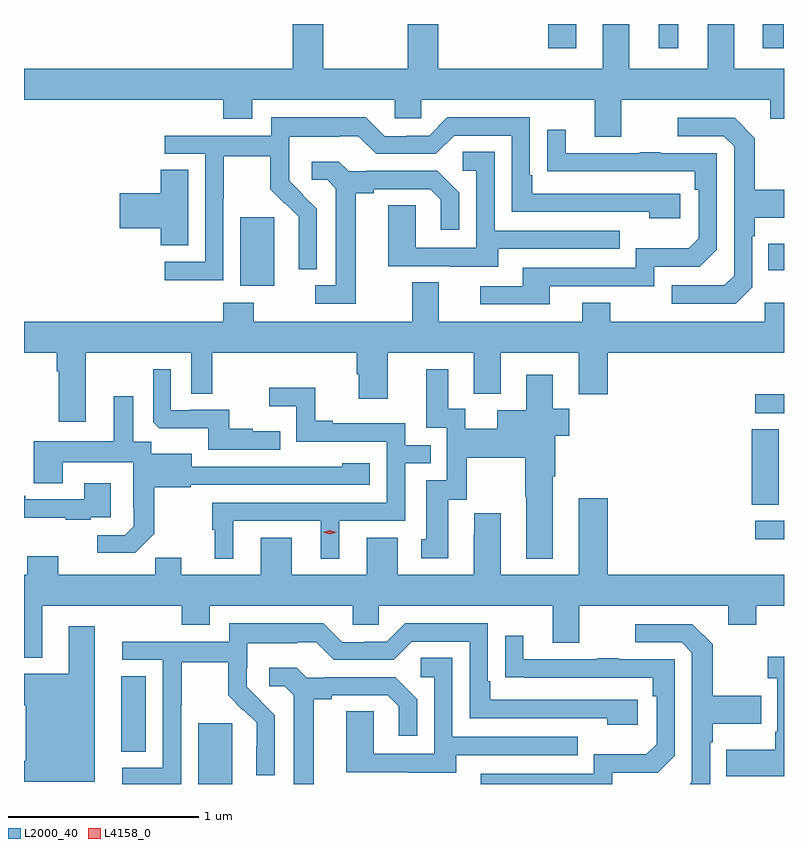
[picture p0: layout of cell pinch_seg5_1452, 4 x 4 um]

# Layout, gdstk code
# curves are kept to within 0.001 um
import gdstk
lib = gdstk.Library(unit=1e-6, precision=1e-09)
def R(c, l, rs):  # rectangles x0, y0, x1, y1
    for r in rs: c.add(gdstk.rectangle(r[:2], r[2:], *l))
def P(c, l, *ps):  # polygons
    for p in ps: c.add(gdstk.Polygon(p, *l))
L2000_40 = (2000, 40)
L4158_0 = (4158, 0)

pinch_seg5_1452 = lib.new_cell('pinch_seg5_1452')
R(pinch_seg5_1452, L2000_40, [(196.403,838.507,196.582,838.827), (195.998,838.678,196.129,839.075), (199.335,839.796,199.487,839.892), (199.316,839.977,199.459,840.374), (199.335,840.459,199.487,840.558), (196.625,841.13,196.804,841.491), (199.405,841.211,199.487,841.351), (198.245,842.379,198.394,842.507), (198.827,842.379,198.931,842.507), (199.376,842.379,199.486,842.507)])
P(pinch_seg5_1452, L2000_40, [(198.631,842.108),(199.415,842.108),(199.415,842.009),(199.487,842.009),(199.487,842.272),(199.225,842.272),(199.225,842.507),(199.085,842.507),(199.085,842.272),(198.673,842.272),(198.673,842.507),(198.533,842.507),(198.533,842.272),(197.666,842.272),(197.666,842.507),(197.506,842.507),(197.506,842.272),(197.061,842.272),(197.061,842.507),(196.901,842.507),(196.901,842.272),(195.487,842.272),(195.487,842.108),(196.535,842.108),(196.535,842.009),(196.687,842.009),(196.687,842.108),(197.439,842.108),(197.439,842.01),(197.577,842.01),(197.577,842.108),(198.491,842.108),(198.491,841.914),(198.631,841.914)],
  [(196.536,841.588),(196.539,841.588),(196.539,841.812),(196.783,841.812),(196.783,841.637),(196.86,841.56),(196.863,841.563),(196.934,841.493),(196.934,841.37),(196.932,841.37),(196.932,841.216),(197.028,841.216),(197.028,841.534),(196.882,841.682),(196.882,841.779),(196.884,841.779),(196.884,841.913),(197.147,841.913),(197.147,841.917),(197.247,841.917),(197.34,841.824),(197.655,841.824),(197.751,841.92),(198.054,841.92),(198.054,841.518),(198.779,841.518),(198.779,841.484),(198.94,841.484),(198.94,841.614),(198.163,841.614),(198.163,841.711),(198.15,841.711),(198.15,842.016),(197.715,842.016),(197.619,841.92),(197.501,841.92),(197.501,841.917),(197.385,841.917),(197.285,842.017),(196.788,842.017),(196.788,841.92),(196.227,841.92),(196.227,841.824),(196.44,841.824),(196.44,841.257),(196.227,841.257),(196.227,841.159),(196.536,841.159)],
  [(199.32,841.122),(199.32,841.391),(199.333,841.391),(199.333,841.487),(199.487,841.487),(199.487,841.635),(199.333,841.635),(199.333,841.907),(199.227,842.013),(198.927,842.013),(198.927,841.917),(199.17,841.917),(199.224,841.863),(199.224,841.182),(199.173,841.131),(198.897,841.131),(198.897,841.035),(199.233,841.035)],
  [(198.253,841.128),(198.804,841.128),(198.804,841.23),(199.044,841.23),(199.134,841.32),(199.134,841.827),(198.839,841.827),(198.839,841.832),(198.727,841.832),(198.727,841.827),(198.337,841.827),(198.337,841.951),(198.241,841.951),(198.241,841.732),(199.018,841.731),(199.018,841.634),(199.038,841.634),(199.038,841.38),(198.985,841.327),(198.708,841.327),(198.708,841.224),(198.113,841.224),(198.113,841.128),(197.889,841.128),(197.889,841.032),(198.253,841.032)],
  [(197.983,841.323),(198.623,841.323),(198.623,841.419),(197.964,841.419),(197.964,841.835),(197.796,841.835),(197.796,841.734),(197.868,841.734),(197.868,841.329),(197.55,841.329),(197.55,841.553),(197.405,841.553),(197.405,841.233),(197.729,841.233),(197.729,841.229),(197.983,841.229)],
  [(197.233,841.616),(197.329,841.616),(197.329,841.638),(197.624,841.638),(197.681,841.581),(197.681,841.425),(197.778,841.425),(197.778,841.618),(197.662,841.734),(197.29,841.734),(197.29,841.731),(197.196,841.731),(197.144,841.783),(197.001,841.783),(197.001,841.686),(197.082,841.686),(197.129,841.639),(197.129,841.131),(197.019,841.131),(197.019,841.035),(197.233,841.035)],
  [(196.351,841.739),(196.208,841.739),(196.208,841.616),(195.99,841.616),(195.99,841.433),(196.208,841.433),(196.208,841.342),(196.351,841.342)],
  [(195.811,840.776),(196.368,840.776),(196.368,840.562),(196.477,840.562),(196.477,840.776),(197.237,840.776),(197.237,840.663),(197.249,840.663),(197.249,840.534),(197.401,840.534),(197.401,840.776),(197.855,840.776),(197.855,840.56),(197.995,840.56),(197.995,840.776),(198.407,840.776),(198.407,840.558),(198.56,840.558),(198.56,840.776),(199.487,840.776),(199.487,841.039),(199.386,841.039),(199.386,840.94),(198.573,840.94),(198.573,841.039),(198.425,841.039),(198.425,840.94),(197.671,840.94),(197.671,841.148),(197.531,841.148),(197.531,840.94),(196.695,840.94),(196.695,841.039),(196.535,841.039),(196.535,840.94),(195.487,840.94),(195.487,840.776),(195.659,840.776),(195.659,840.68),(195.671,840.68),(195.671,840.414),(195.811,840.414)],
  [(198.271,840.128),(198.284,840.128),(198.284,840.341),(198.358,840.341),(198.358,840.483),(198.271,840.483),(198.271,840.661),(198.131,840.661),(198.131,840.475),(197.978,840.475),(197.978,840.376),(197.809,840.376),(197.809,840.482),(197.719,840.482),(197.719,840.691),(197.603,840.691),(197.603,840.381),(197.712,840.381),(197.712,840.105),(197.603,840.105),(197.603,839.796),(197.579,839.796),(197.579,839.694),(197.719,839.694),(197.719,840.002),(197.817,840.002),(197.817,840.224),(198.124,840.224),(198.124,840.019),(198.131,840.019),(198.131,839.693),(198.271,839.693)],
  [(196.835,840.364),(196.691,840.364),(196.691,840.376),(196.568,840.376),(196.568,840.477),(196.36,840.477),(196.36,840.474),(196.26,840.474),(196.26,840.691),(196.167,840.691),(196.167,840.411),(196.199,840.38),(196.458,840.38),(196.458,840.267),(196.835,840.267)],
  [(196.588,839.892),(197.048,839.892),(197.048,839.693),(197.146,839.693),(197.146,839.892),(197.493,839.892),(197.493,840.195),(197.627,840.195),(197.627,840.291),(197.493,840.291),(197.493,840.405),(197.113,840.405),(197.113,840.418),(197.019,840.418),(197.019,840.593),(196.779,840.593),(196.779,840.494),(196.92,840.494),(196.92,840.309),(197.397,840.309),(197.397,839.988),(196.479,839.988),(196.479,839.844),(196.49,839.844),(196.49,839.693),(196.588,839.693)],
  [(196.173,839.823),(196.173,840.069),(196.365,840.069),(196.365,840.081),(197.308,840.081),(197.308,840.196),(197.163,840.196),(197.163,840.178),(196.369,840.177),(196.369,840.244),(196.158,840.244),(196.158,840.308),(196.063,840.308),(196.063,840.547),(195.959,840.547),(195.959,840.31),(195.539,840.31),(195.539,840.091),(195.691,840.091),(195.691,840.2),(196.062,840.2),(196.062,839.959),(196.064,839.959),(196.064,839.864),(196.017,839.817),(195.873,839.817),(195.873,839.723),(196.073,839.723)],
  [(195.839,839.91),(195.943,839.91),(195.943,840.091),(195.803,840.091),(195.803,840.006),(195.493,840.006),(195.493,840.025),(195.487,840.025),(195.487,839.909),(195.707,839.909),(195.707,839.898),(195.839,839.898)],
  [(195.583,839.444),(196.318,839.444),(196.318,839.345),(196.465,839.345),(196.465,839.444),(197.217,839.444),(197.217,839.346),(197.355,839.346),(197.355,839.444),(198.269,839.444),(198.269,839.25),(198.409,839.25),(198.409,839.444),(199.193,839.444),(199.193,839.345),(199.341,839.345),(199.341,839.444),(199.487,839.444),(199.487,839.608),(198.56,839.608),(198.56,840.01),(198.407,840.01),(198.407,839.608),(197.995,839.608),(197.995,839.932),(197.858,839.932),(197.858,839.819),(197.855,839.819),(197.855,839.608),(197.455,839.608),(197.455,839.803),(197.291,839.803),(197.291,839.608),(196.897,839.608),(196.897,839.803),(196.733,839.803),(196.733,839.608),(196.315,839.608),(196.315,839.699),(196.177,839.699),(196.177,839.608),(195.667,839.608),(195.667,839.707),(195.503,839.707),(195.503,839.608),(195.487,839.608),(195.487,839.171),(195.583,839.171)],
  [(196.314,838.924),(196.317,838.924),(196.317,839.148),(196.561,839.148),(196.561,838.973),(196.638,838.896),(196.641,838.899),(196.712,838.829),(196.712,838.706),(196.71,838.706),(196.71,838.552),(196.806,838.552),(196.806,838.87),(196.66,839.018),(196.66,839.115),(196.662,839.115),(196.662,839.249),(196.925,839.249),(196.925,839.253),(197.025,839.253),(197.118,839.16),(197.433,839.16),(197.529,839.256),(197.832,839.256),(197.832,838.854),(198.557,838.854),(198.557,838.82),(198.718,838.82),(198.718,838.95),(197.941,838.95),(197.941,839.047),(197.928,839.047),(197.928,839.352),(197.493,839.352),(197.397,839.256),(197.279,839.256),(197.279,839.253),(197.163,839.253),(197.063,839.353),(196.566,839.353),(196.566,839.256),(196.005,839.256),(196.005,839.16),(196.218,839.16),(196.218,838.593),(196.005,838.593),(196.005,838.507),(196.314,838.507)],
  [(199.098,838.727),(199.111,838.727),(199.111,838.823),(199.367,838.823),(199.367,838.971),(199.111,838.971),(199.111,839.243),(199.005,839.349),(198.705,839.349),(198.705,839.253),(198.948,839.253),(199.002,839.199),(199.002,838.518),(198.991,838.507),(199.098,838.507)],
  [(195.859,839.338),(195.722,839.338),(195.722,839.086),(195.487,839.086),(195.487,838.922),(195.497,838.922),(195.497,838.63),(195.487,838.63),(195.487,838.52),(195.859,838.52)],
  [(198.582,838.566),(198.822,838.566),(198.912,838.656),(198.912,839.163),(198.617,839.163),(198.617,839.168),(198.505,839.168),(198.505,839.163),(198.115,839.163),(198.115,839.287),(198.019,839.287),(198.019,839.068),(198.796,839.067),(198.796,838.97),(198.816,838.97),(198.816,838.716),(198.763,838.663),(198.486,838.663),(198.486,838.56),(197.891,838.56),(197.891,838.507),(198.582,838.507)],
  [(199.487,839.176),(199.401,839.176),(199.401,839.063),(199.452,839.063),(199.452,838.783),(199.44,838.783),(199.44,838.687),(199.183,838.687),(199.183,838.547),(199.487,838.547)],
  [(197.761,838.659),(198.401,838.659),(198.401,838.755),(197.742,838.755),(197.742,839.171),(197.574,839.171),(197.574,839.07),(197.646,839.07),(197.646,838.665),(197.328,838.665),(197.328,838.889),(197.183,838.889),(197.183,838.569),(197.507,838.569),(197.507,838.565),(197.761,838.565)],
  [(197.011,838.952),(197.107,838.952),(197.107,838.974),(197.402,838.974),(197.459,838.917),(197.459,838.761),(197.556,838.761),(197.556,838.954),(197.44,839.07),(197.068,839.07),(197.068,839.067),(196.974,839.067),(196.922,839.119),(196.779,839.119),(196.779,839.022),(196.86,839.022),(196.907,838.975),(196.907,838.507),(197.011,838.507)])
P(pinch_seg5_1452, L4158_0, [(197.097,839.822),(197.061,839.832),(197.061,839.832),(197.061,839.832),(197.097,839.842),(197.133,839.832),(197.133,839.832),(197.133,839.832)])

lib.write_gds('pinch_seg5_1452.gds')
